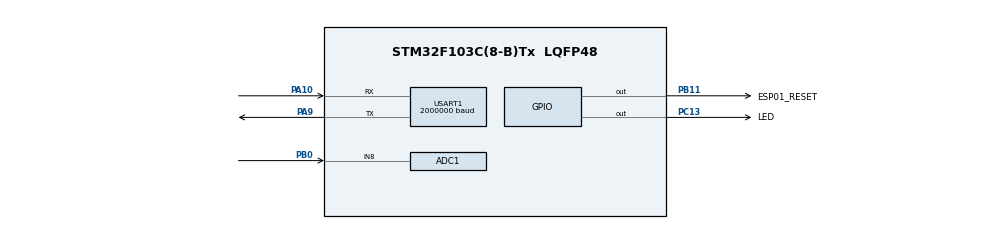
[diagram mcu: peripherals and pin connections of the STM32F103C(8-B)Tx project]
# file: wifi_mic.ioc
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ADC1.Channel-0\#ChannelRegularConversion=ADC_CHANNEL_8
ADC1.ExternalTrigConv=ADC_EXTERNALTRIGCONV_T3_TRGO
ADC1.NbrOfConversionFlag=1
ADC1.Rank-0\#ChannelRegularConversion=1
ADC1.SamplingTime-0\#ChannelRegularConversion=ADC_SAMPLETIME_1CYCLE_5
ADC1.master=1
Dma.ADC1.0.Direction=DMA_PERIPH_TO_MEMORY
Dma.ADC1.0.Instance=DMA1_Channel1
Dma.ADC1.0.MemDataAlignment=DMA_MDATAALIGN_HALFWORD
Dma.ADC1.0.MemInc=DMA_MINC_ENABLE
Dma.ADC1.0.Mode=DMA_CIRCULAR
Dma.ADC1.0.PeriphDataAlignment=DMA_PDATAALIGN_HALFWORD
Dma.ADC1.0.PeriphInc=DMA_PINC_DISABLE
Dma.ADC1.0.Priority=DMA_PRIORITY_LOW
Dma.Request0=ADC1
Dma.Request1=USART1_TX
Dma.USART1_TX.1.Direction=DMA_MEMORY_TO_PERIPH
Dma.USART1_TX.1.Instance=DMA1_Channel4
Dma.USART1_TX.1.MemDataAlignment=DMA_MDATAALIGN_BYTE
Dma.USART1_TX.1.MemInc=DMA_MINC_ENABLE
Dma.USART1_TX.1.Mode=DMA_NORMAL
Dma.USART1_TX.1.PeriphDataAlignment=DMA_PDATAALIGN_BYTE
Dma.USART1_TX.1.PeriphInc=DMA_PINC_DISABLE
Dma.USART1_TX.1.Priority=DMA_PRIORITY_LOW
Mcu.Family=STM32F1
Mcu.Name=STM32F103C(8-B)Tx
Mcu.Package=LQFP48
NVIC.DMA1_Channel1_IRQn=true\:0\:0\:false\:false\:true\:false\:true
NVIC.DMA1_Channel4_IRQn=true\:0\:0\:false\:false\:true\:false\:true
NVIC.PriorityGroup=NVIC_PRIORITYGROUP_4
NVIC.TIM3_IRQn=true\:0\:0\:false\:false\:true\:true\:true
NVIC.USART1_IRQn=true\:0\:0\:false\:false\:true\:true\:true
PA10.Mode=Asynchronous
PA10.Signal=USART1_RX
PA13.Mode=Serial_Wire
PA13.Signal=SYS_JTMS-SWDIO
PA14.Mode=Serial_Wire
PA14.Signal=SYS_JTCK-SWCLK
PA9.Mode=Asynchronous
PA9.Signal=USART1_TX
PB0.Signal=ADCx_IN8
PB11.GPIO_Label=ESP01_RESET
PB11.GPIO_ModeDefaultOutputPP=GPIO_MODE_OUTPUT_OD
PB11.Signal=GPIO_Output
PC13-TAMPER-RTC.GPIO_Label=LED
PC13-TAMPER-RTC.Signal=GPIO_Output
PD0-OSC_IN.Mode=HSE-External-Oscillator
PD0-OSC_IN.Signal=RCC_OSC_IN
PD1-OSC_OUT.Mode=HSE-External-Oscillator
PD1-OSC_OUT.Signal=RCC_OSC_OUT
ProjectManager.HeapSize=0x200
ProjectManager.StackSize=0x400
ProjectManager.TargetToolchain=MDK-ARM V5
RCC.ADCPresc=RCC_ADCPCLK2_DIV6
RCC.AHBFreq_Value=72000000
RCC.APB1CLKDivider=RCC_HCLK_DIV2
RCC.APB1Freq_Value=36000000
RCC.APB1TimFreq_Value=72000000
RCC.APB2Freq_Value=72000000
RCC.APB2TimFreq_Value=72000000
RCC.HCLKFreq_Value=72000000
RCC.PLLMUL=RCC_PLL_MUL9
RCC.PLLSourceVirtual=RCC_PLLSOURCE_HSE
RCC.SYSCLKFreq_VALUE=72000000
RCC.SYSCLKSource=RCC_SYSCLKSOURCE_PLLCLK
RCC.USBFreq_Value=72000000
SH.ADCx_IN8.0=ADC1_IN8,IN8
TIM3.Period=8999
TIM3.TIM_MasterOutputTrigger=TIM_TRGO_UPDATE
USART1.BaudRate=2000000
USART1.StopBits=STOPBITS_1
USART1.VirtualMode=VM_ASYNC
VP_TIM3_VS_ClockSourceINT.Mode=Internal
board=custom

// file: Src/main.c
/* USER CODE BEGIN Header */
/**
  ******************************************************************************
  * @file           : main.c
  * @brief          : Main program body
  ******************************************************************************
  * @attention
  *
  * <h2><center>&copy; Copyright (c) 2019 STMicroelectronics.
  * All rights reserved.</center></h2>
  *
  * This software component is licensed by ST under BSD 3-Clause license,
  * the "License"; You may not use this file except in compliance with the
  * License. You may obtain a copy of the License at:
  * opensource.org/licenses/BSD-3-Clause
  *
  ******************************************************************************
  */
/* USER CODE END Header */

#include "main.h"

/* USER CODE BEGIN Includes */
#include "g711.h"
#include <stdio.h>
#include <string.h>
/* USER CODE END Includes */

/* USER CODE BEGIN PD */
#define USE_AT_COMAND //IF NON DEFINED YOU CAN USE UART TO RECORD!!!
#define conect_to_AP "AT+CWJAP=\"AP_NAME\",\"PASSWORD\"\r\n"
#define serverPort 1222
#define server_Ip         "192.168.1.176"
#define stream_pac_size    1024
#define DEBUG 1
#define dc_ofcet 1800
#define ESP01_RESET()      LL_GPIO_ResetOutputPin(ESP01_RESET_GPIO_Port,ESP01_RESET_Pin)
#define ESP01_NORESET()    LL_GPIO_SetOutputPin(ESP01_RESET_GPIO_Port,ESP01_RESET_Pin)
#define LED_ONOFF()        (GPIOC->ODR ^= 8192)
#define LED_ON()           LL_GPIO_ResetOutputPin(LED_GPIO_Port,LED_Pin)
#define LED_OFF()          LL_GPIO_SetOutputPin(LED_GPIO_Port,LED_Pin)
/* USER CODE END PD */

/* USER CODE BEGIN PV */
char rx_buf[RX_BUF_SIZE]="";
volatile uint16_t rx_pos=0;
uint16_t adc_buffer[2][stream_pac_size/2];
uint8_t g711_buffer[stream_pac_size/2];
const char uartFastbaud [] =     "AT+UART_CUR=2000000,8,1,0,0\r\n" ;
const char at_test[] =           "AT\r\n";
const char echoOff[] =           "ATE0\r\n";
const char station_mode [] =     "AT+CWMODE=1\r\n"; //station mode
const char conect_AP_status [] = "AT+CWJAP?\r\n";
const char get_IP [] =           "AT+CIFSR\r\n";
const char NoMultConn[] =        "AT+CIPMUX=0\r\n";
uint8_t ready_buf=0;
uint8_t send_buf=1;
char sendbuf[50];
uint32_t baud=115200;
uint32_t i;
int adc_i;
volatile uint32_t currentTimeMs=0;
/* USER CODE END PV */

void SystemClock_Config(void);
static void MX_GPIO_Init(void);
static void MX_DMA_Init(void);
static void MX_ADC1_Init(void);
static void MX_TIM3_Init(void);
static void MX_USART1_UART_Init(void);
/* USER CODE BEGIN PFP */
//void MX_USART1_UART_Init(uint32_t baudrate);
void usart_send_byte(char chr);
void usart_send_string(const char *str);
void clear_rx_buf(void);
void connect_to_server(void);
uint8_t check_answer(char *str,uint16_t wait);
/* USER CODE END PFP */

/* USER CODE BEGIN 0 */
//+++++++++++++++++++++++++++++++++++++++++++++++++++++++++++++++++++++++++++++++//
//==================================SWO_ini======================================//
//+++++++++++++++++++++++++++++++++++++++++++++++++++++++++++++++++++++++++++++++//
#define ITM_Port8(n)    (*((volatile unsigned char *)(0xE0000000+4*n)))
#define ITM_Port16(n)   (*((volatile unsigned short*)(0xE0000000+4*n)))
#define ITM_Port32(n)   (*((volatile unsigned long *)(0xE0000000+4*n)))
#define DEMCR           (*((volatile unsigned long *)(0xE000EDFC)))
#define TRCENA           0x01000000

struct __FILE { int handle;};
FILE __stdout;
FILE __stdin;

int fputc(int ch, FILE *f) {
   if (DEMCR & TRCENA) {

while (ITM_Port32(0) == 0){};
    ITM_Port8(0) = ch;
  }
  return(ch);
}
char *crcOK;

//+++++++++++++++++++++++++++++++++++++++++++++++++++++++++++++++++++++++++++++++++//
//=================================================================================//
//+++++++++++++++++++++++++++++++++++++++++++++++++++++++++++++++++++++++++++++++++//
/* USER CODE END 0 */

int main(void)
{

  /* MCU Configuration--------------------------------------------------------*/

  /* Reset of all peripherals, Initializes the Flash interface and the Systick. */

  LL_APB2_GRP1_EnableClock(LL_APB2_GRP1_PERIPH_AFIO);
  LL_APB1_GRP1_EnableClock(LL_APB1_GRP1_PERIPH_PWR);

  NVIC_SetPriorityGrouping(NVIC_PRIORITYGROUP_4);

  /* System interrupt init*/

  /** NOJTAG: JTAG-DP Disabled and SW-DP Enabled
  */
  LL_GPIO_AF_Remap_SWJ_NOJTAG();

  /* Configure the system clock */
  SystemClock_Config();

  /* USER CODE BEGIN SysInit */
  LL_SYSTICK_EnableIT();
	//LL_USART_EnableIT_RXNE(USART1);//in uart ini
  /* USER CODE END SysInit */

  /* Initialize all configured peripherals */
  MX_GPIO_Init();
  MX_DMA_Init();
  MX_ADC1_Init();
  MX_TIM3_Init();
  MX_USART1_UART_Init();
  /* USER CODE BEGIN 2 */
#if defined(USE_AT_COMAND)
	LL_mDelay(500);
	ESP01_RESET();
	LL_mDelay(200);
	ESP01_NORESET();
	LL_mDelay(3000);//delite startup log
	clear_rx_buf();
	while(1){
		  LED_ONOFF();
			if(DEBUG)printf("while ESP01 module ready\r\n");
			    usart_send_string(at_test);
			if (check_answer("OK",500))break;
			}clear_rx_buf();
		  connect_to_server();
#else
			baud=921600;
			MX_USART1_UART_Init();
#endif /* USE_AT_COMAND */
//========================================DMA_CHANNEL_1=======================================================================//
LL_DMA_SetDataLength(DMA1, LL_DMA_CHANNEL_1, stream_pac_size);
LL_DMA_ConfigAddresses(DMA1,LL_DMA_CHANNEL_1,(uint32_t)&ADC1->DR,(uint32_t)&adc_buffer[0],LL_DMA_DIRECTION_PERIPH_TO_MEMORY);
LL_DMA_EnableIT_TC(DMA1,LL_DMA_CHANNEL_1);
LL_DMA_EnableIT_HT(DMA1,LL_DMA_CHANNEL_1);
LL_DMA_EnableChannel(DMA1,LL_DMA_CHANNEL_1);
//========================================DMA_CHANNEL_4======================================================================//
LL_USART_EnableDMAReq_TX(USART1);
LL_DMA_SetPeriphAddress(DMA1, LL_DMA_CHANNEL_4,(uint32_t)&USART1->DR);
LL_DMA_SetMemoryAddress(DMA1,LL_DMA_CHANNEL_4,(uint32_t)g711_buffer);
LL_DMA_SetDataLength(DMA1, LL_DMA_CHANNEL_4, stream_pac_size/2);
LL_DMA_EnableIT_TC(DMA1,LL_DMA_CHANNEL_4);
//LL_DMA_EnableChannel(DMA1,LL_DMA_CHANNEL_4);
//============================================ADC1============================================================================//
LL_ADC_Enable(ADC1);//ADC1->CR2 |= ADC_CR2_ADON;
LL_ADC_REG_StartConversionExtTrig(ADC1,LL_ADC_REG_TRIG_EXT_RISING);
//============================================TIM3============================================================================//
LL_TIM_EnableUpdateEvent(TIM3);//CLEAR_BIT(TIM3->CR1, TIM_CR1_UDIS);TIM3->CR1&=~TIM_CR1_UDIS
LL_TIM_EnableIT_UPDATE(TIM3); //TIM3->DIER |= TIM_DIER_UIE;
LL_TIM_EnableCounter(TIM3);		//TIM3->CR1 |= TIM_CR1_CEN; // Запуск таймера
//============================================================================================================================//
ESP01_NORESET();
  /* USER CODE END 2 */

  /* Infinite loop */
  /* USER CODE BEGIN WHILE */
  while (1)
  {

		if(ready_buf!=send_buf)	{
			//if(DEBUG)printf("start linear2alaw %d ms ; buf = %d\r\n",currentTimeMs,ready_buf);
			for(i=0;i<stream_pac_size/2;i++){
				 adc_i = ((int)adc_buffer[ready_buf][i])-dc_ofcet;
				 if(adc_i > 100)LED_ON();
           else LED_OFF();
			 g711_buffer[i]=(uint8_t)linear2alaw(adc_i);
			}
			//if(DEBUG)printf("end linear2alaw %d ms ;  buf = %d\r\n",currentTimeMs,ready_buf);
			LL_DMA_SetDataLength(DMA1, LL_DMA_CHANNEL_4, stream_pac_size/2);
			LL_DMA_EnableChannel(DMA1, LL_DMA_CHANNEL_4);
		  send_buf=ready_buf;
	  }

    /* USER CODE END WHILE */

  }
}

void SystemClock_Config(void)
{
  LL_FLASH_SetLatency(LL_FLASH_LATENCY_2);

   if(LL_FLASH_GetLatency() != LL_FLASH_LATENCY_2)
  {
    Error_Handler();
  }
  LL_RCC_HSE_Enable();

   /* Wait till HSE is ready */
  while(LL_RCC_HSE_IsReady() != 1)
  {

  }
  LL_RCC_PLL_ConfigDomain_SYS(LL_RCC_PLLSOURCE_HSE_DIV_1, LL_RCC_PLL_MUL_9);
  LL_RCC_PLL_Enable();

   /* Wait till PLL is ready */
  while(LL_RCC_PLL_IsReady() != 1)
  {

  }
  LL_RCC_SetAHBPrescaler(LL_RCC_SYSCLK_DIV_1);
  LL_RCC_SetAPB1Prescaler(LL_RCC_APB1_DIV_2);
  LL_RCC_SetAPB2Prescaler(LL_RCC_APB2_DIV_1);
  LL_RCC_SetSysClkSource(LL_RCC_SYS_CLKSOURCE_PLL);

   /* Wait till System clock is ready */
  while(LL_RCC_GetSysClkSource() != LL_RCC_SYS_CLKSOURCE_STATUS_PLL)
  {

  }
  LL_Init1msTick(72000000);
  LL_SYSTICK_SetClkSource(LL_SYSTICK_CLKSOURCE_HCLK);
  LL_SetSystemCoreClock(72000000);
  LL_RCC_SetADCClockSource(LL_RCC_ADC_CLKSRC_PCLK2_DIV_6);
}

static void MX_ADC1_Init(void)
{

  LL_ADC_InitTypeDef ADC_InitStruct = {0};
  LL_ADC_CommonInitTypeDef ADC_CommonInitStruct = {0};
  LL_ADC_REG_InitTypeDef ADC_REG_InitStruct = {0};

  LL_GPIO_InitTypeDef GPIO_InitStruct = {0};

  /* Peripheral clock enable */
  LL_APB2_GRP1_EnableClock(LL_APB2_GRP1_PERIPH_ADC1);

  LL_APB2_GRP1_EnableClock(LL_APB2_GRP1_PERIPH_GPIOB);
  /**ADC1 GPIO Configuration
  PB0   ------> ADC1_IN8
  */
  GPIO_InitStruct.Pin = LL_GPIO_PIN_0;
  GPIO_InitStruct.Mode = LL_GPIO_MODE_ANALOG;
  LL_GPIO_Init(GPIOB, &GPIO_InitStruct);

  /* ADC1 DMA Init */

  /* ADC1 Init */
  LL_DMA_SetDataTransferDirection(DMA1, LL_DMA_CHANNEL_1, LL_DMA_DIRECTION_PERIPH_TO_MEMORY);

  LL_DMA_SetChannelPriorityLevel(DMA1, LL_DMA_CHANNEL_1, LL_DMA_PRIORITY_LOW);

  LL_DMA_SetMode(DMA1, LL_DMA_CHANNEL_1, LL_DMA_MODE_CIRCULAR);

  LL_DMA_SetPeriphIncMode(DMA1, LL_DMA_CHANNEL_1, LL_DMA_PERIPH_NOINCREMENT);

  LL_DMA_SetMemoryIncMode(DMA1, LL_DMA_CHANNEL_1, LL_DMA_MEMORY_INCREMENT);

  LL_DMA_SetPeriphSize(DMA1, LL_DMA_CHANNEL_1, LL_DMA_PDATAALIGN_HALFWORD);

  LL_DMA_SetMemorySize(DMA1, LL_DMA_CHANNEL_1, LL_DMA_MDATAALIGN_HALFWORD);

  /** Common config
  */
  ADC_InitStruct.DataAlignment = LL_ADC_DATA_ALIGN_RIGHT;
  ADC_InitStruct.SequencersScanMode = LL_ADC_SEQ_SCAN_DISABLE;
  LL_ADC_Init(ADC1, &ADC_InitStruct);
  ADC_CommonInitStruct.Multimode = LL_ADC_MULTI_INDEPENDENT;
  LL_ADC_CommonInit(__LL_ADC_COMMON_INSTANCE(ADC1), &ADC_CommonInitStruct);
  ADC_REG_InitStruct.TriggerSource = LL_ADC_REG_TRIG_EXT_TIM3_TRGO;
  ADC_REG_InitStruct.SequencerLength = 1;
  ADC_REG_InitStruct.SequencerDiscont = LL_ADC_REG_SEQ_DISCONT_DISABLE;
  ADC_REG_InitStruct.ContinuousMode = LL_ADC_REG_CONV_SINGLE;
  ADC_REG_InitStruct.DMATransfer = LL_ADC_REG_DMA_TRANSFER_UNLIMITED;
  LL_ADC_REG_Init(ADC1, &ADC_REG_InitStruct);
  /** Configure Regular Channel
  */
  LL_ADC_REG_SetSequencerRanks(ADC1, LL_ADC_REG_RANK_1, LL_ADC_CHANNEL_8);
  LL_ADC_SetChannelSamplingTime(ADC1, LL_ADC_CHANNEL_8, LL_ADC_SAMPLINGTIME_1CYCLE_5);

}

static void MX_TIM3_Init(void)
{

  LL_TIM_InitTypeDef TIM_InitStruct = {0};

  /* Peripheral clock enable */
  LL_APB1_GRP1_EnableClock(LL_APB1_GRP1_PERIPH_TIM3);

  /* TIM3 interrupt Init */
  NVIC_SetPriority(TIM3_IRQn, NVIC_EncodePriority(NVIC_GetPriorityGrouping(),0, 0));
  NVIC_EnableIRQ(TIM3_IRQn);

  TIM_InitStruct.Prescaler = 0;
  TIM_InitStruct.CounterMode = LL_TIM_COUNTERMODE_UP;
  TIM_InitStruct.Autoreload = 1500-1; //2000-1=36khz//72000000/8000=9000-1  8kHz\\//72000000/16000=4500-1  16kHz
  TIM_InitStruct.ClockDivision = LL_TIM_CLOCKDIVISION_DIV1;
  LL_TIM_Init(TIM3, &TIM_InitStruct);
  LL_TIM_DisableARRPreload(TIM3);
  LL_TIM_SetClockSource(TIM3, LL_TIM_CLOCKSOURCE_INTERNAL);
  LL_TIM_SetTriggerOutput(TIM3, LL_TIM_TRGO_UPDATE);
  LL_TIM_DisableMasterSlaveMode(TIM3);
  /* USER CODE BEGIN TIM3_Init 2 */
	//RCC->APB1ENR |= RCC_APB1ENR_TIM3EN;   // TIM3 clock enable
  //TIM3->DIER |= TIM_DIER_UIE;   // Enable update event generation
	//TIM3->PSC = 0;                //Prescaler
	//TIM3->ARR = 8999;             //Autoreload
	//TIM3->CR2 |= TIM_CR2_MMS_1    //SetTriggerOutput TIM_TRGO_UPDATE
	//TIM3->CR1 |= TIM_CR1_CEN;     //start timer
  /* USER CODE END TIM3_Init 2 */

}

static void MX_USART1_UART_Init(void)
{

  LL_USART_InitTypeDef USART_InitStruct = {0};

  LL_GPIO_InitTypeDef GPIO_InitStruct = {0};

  /* Peripheral clock enable */
  LL_APB2_GRP1_EnableClock(LL_APB2_GRP1_PERIPH_USART1);

  LL_APB2_GRP1_EnableClock(LL_APB2_GRP1_PERIPH_GPIOA);
  /**USART1 GPIO Configuration
  PA9   ------> USART1_TX
  PA10   ------> USART1_RX
  */
  GPIO_InitStruct.Pin = LL_GPIO_PIN_9;
  GPIO_InitStruct.Mode = LL_GPIO_MODE_ALTERNATE;
  GPIO_InitStruct.Speed = LL_GPIO_SPEED_FREQ_HIGH;
  GPIO_InitStruct.OutputType = LL_GPIO_OUTPUT_PUSHPULL;
  LL_GPIO_Init(GPIOA, &GPIO_InitStruct);

  GPIO_InitStruct.Pin = LL_GPIO_PIN_10;
  GPIO_InitStruct.Mode = LL_GPIO_MODE_FLOATING;
  LL_GPIO_Init(GPIOA, &GPIO_InitStruct);

  /* USART1 DMA Init */

  /* USART1_TX Init */
  LL_DMA_SetDataTransferDirection(DMA1, LL_DMA_CHANNEL_4, LL_DMA_DIRECTION_MEMORY_TO_PERIPH);

  LL_DMA_SetChannelPriorityLevel(DMA1, LL_DMA_CHANNEL_4, LL_DMA_PRIORITY_LOW);

  LL_DMA_SetMode(DMA1, LL_DMA_CHANNEL_4, LL_DMA_MODE_NORMAL);

  LL_DMA_SetPeriphIncMode(DMA1, LL_DMA_CHANNEL_4, LL_DMA_PERIPH_NOINCREMENT);

  LL_DMA_SetMemoryIncMode(DMA1, LL_DMA_CHANNEL_4, LL_DMA_MEMORY_INCREMENT);

  LL_DMA_SetPeriphSize(DMA1, LL_DMA_CHANNEL_4, LL_DMA_PDATAALIGN_BYTE);

  LL_DMA_SetMemorySize(DMA1, LL_DMA_CHANNEL_4, LL_DMA_MDATAALIGN_BYTE);

  /* USART1 interrupt Init */
  NVIC_SetPriority(USART1_IRQn, NVIC_EncodePriority(NVIC_GetPriorityGrouping(),0, 0));
  NVIC_EnableIRQ(USART1_IRQn);

  /* USER CODE BEGIN USART1_Init 1 */
  LL_USART_EnableIT_RXNE(USART1);
  /* USER CODE END USART1_Init 1 */
  USART_InitStruct.BaudRate = baud;
  USART_InitStruct.DataWidth = LL_USART_DATAWIDTH_8B;
  USART_InitStruct.StopBits = LL_USART_STOPBITS_1;
  USART_InitStruct.Parity = LL_USART_PARITY_NONE;
  USART_InitStruct.TransferDirection = LL_USART_DIRECTION_TX_RX;
  USART_InitStruct.HardwareFlowControl = LL_USART_HWCONTROL_NONE;
  LL_USART_Init(USART1, &USART_InitStruct);
  LL_USART_ConfigAsyncMode(USART1);
  LL_USART_Enable(USART1);

}

static void MX_DMA_Init(void)
{
  /* Init with LL driver */
  /* DMA controller clock enable */
  LL_AHB1_GRP1_EnableClock(LL_AHB1_GRP1_PERIPH_DMA1);

  /* DMA interrupt init */
  /* DMA1_Channel1_IRQn interrupt configuration */
  NVIC_SetPriority(DMA1_Channel1_IRQn, NVIC_EncodePriority(NVIC_GetPriorityGrouping(),0, 0));
  NVIC_EnableIRQ(DMA1_Channel1_IRQn);
  /* DMA1_Channel4_IRQn interrupt configuration */
  NVIC_SetPriority(DMA1_Channel4_IRQn, NVIC_EncodePriority(NVIC_GetPriorityGrouping(),0, 0));
  NVIC_EnableIRQ(DMA1_Channel4_IRQn);

}

static void MX_GPIO_Init(void)
{
  LL_GPIO_InitTypeDef GPIO_InitStruct = {0};

  /* GPIO Ports Clock Enable */
  LL_APB2_GRP1_EnableClock(LL_APB2_GRP1_PERIPH_GPIOC);
  LL_APB2_GRP1_EnableClock(LL_APB2_GRP1_PERIPH_GPIOD);
  LL_APB2_GRP1_EnableClock(LL_APB2_GRP1_PERIPH_GPIOB);
  LL_APB2_GRP1_EnableClock(LL_APB2_GRP1_PERIPH_GPIOA);

  /**/
  LL_GPIO_ResetOutputPin(LED_GPIO_Port, LED_Pin);

  /**/
  LL_GPIO_ResetOutputPin(ESP01_RESET_GPIO_Port, ESP01_RESET_Pin);

  /**/
  GPIO_InitStruct.Pin = LED_Pin;
  GPIO_InitStruct.Mode = LL_GPIO_MODE_OUTPUT;
  GPIO_InitStruct.Speed = LL_GPIO_SPEED_FREQ_LOW;
  GPIO_InitStruct.OutputType = LL_GPIO_OUTPUT_PUSHPULL;
  LL_GPIO_Init(LED_GPIO_Port, &GPIO_InitStruct);

  /**/
  GPIO_InitStruct.Pin = ESP01_RESET_Pin;
  GPIO_InitStruct.Mode = LL_GPIO_MODE_OUTPUT;
  GPIO_InitStruct.Speed = LL_GPIO_SPEED_FREQ_LOW;
  GPIO_InitStruct.OutputType = LL_GPIO_OUTPUT_OPENDRAIN;
  LL_GPIO_Init(ESP01_RESET_GPIO_Port, &GPIO_InitStruct);

}

/* USER CODE BEGIN 4 */
//+++++++++++++++++++++++++++++++++++++++++++++++++++++++++++++++++++++++++++++++//
//=================================usart1_send_byte==============================//
//+++++++++++++++++++++++++++++++++++++++++++++++++++++++++++++++++++++++++++++++//
void usart_send_byte (char chr){
	      USART1->DR = chr;
	       while (!LL_USART_IsActiveFlag_TC(USART1));
}

//+++++++++++++++++++++++++++++++++++++++++++++++++++++++++++++++++++++++++++++++//
//=================================usart1_send_string============================//
//+++++++++++++++++++++++++++++++++++++++++++++++++++++++++++++++++++++++++++++++//
void usart_send_string(const char* str) {
	//clear_rx_buf();
  while(*str){
		usart_send_byte(*str++);
	}
}

//++++++++++++++++++++++++++++++++++++++++++++++++++++++++++++++++++++++++++++++++++++++++++//
//==============================check_answer================================================//
//++++++++++++++++++++++++++++++++++++++++++++++++++++++++++++++++++++++++++++++++++++++++++//
uint8_t check_answer(char *str,uint16_t wait){
uint32_t time_Ms_Now = currentTimeMs;
char *istr = NULL;
	while(istr==NULL && ((currentTimeMs-time_Ms_Now)< wait)){
			istr=strstr(rx_buf,str);
		}
		if(istr!=NULL){
			if(DEBUG)printf("find %s;\r\n",str);
			clear_rx_buf();
			return 1;
		}else return 0;
	}
//=========================================================================//
//-----------------------------clear_rx_buf--------------------------------//
//=========================================================================//
void clear_rx_buf(void){
 for(;rx_pos!=0;rx_pos--)rx_buf[rx_pos]=0xFF;
// for(i=RX_BUF_SIZE;i!=0;i--)
//	rx_buf[i]='\0';
}
//=========================================================================================//
//+++++++++++++++++++++++configure ESP and connect to the server++++++++++++++++++++++++++++//
//=========================================================================================//
#if defined(USE_AT_COMAND)
void connect_to_server(void){
uint8_t step=0;

while(1){
//This at command checked at !!!!
	switch(step){
		case(0):
			if(DEBUG)printf("step 1: send_string(echoOff)\r\n");
			usart_send_string(echoOff);
			if (check_answer("OK",1000))step++;
		break;
		case(1):
			if(DEBUG)printf("step 2: send_string(station_mode)\r\n");
			usart_send_string(station_mode);
			if (check_answer("OK",1000))step++;
		break;
		case(2):
			if(DEBUG)printf("step 3: send_string(conect_to_AP)\r\n");
		  usart_send_string(conect_to_AP);
			if (check_answer("WIFI CONNECTED",5000))step++;
		break;
		case(3):
			if(DEBUG)printf("step 4: send_string(conect_to_AP_status)\r\n");
			usart_send_string(conect_AP_status);
		  if (check_answer("OK",5000))step++;
		break;
		case(4):
			if(DEBUG)printf("step 5: send_string(get_IP)\r\n");
			usart_send_string(get_IP);
		  if (check_answer("OK",1000))step++;
		break;
		case(5):
			if(DEBUG)printf("step 6: send_string(NoMultConn)\r\n");
			usart_send_string(NoMultConn);
		  if (check_answer("OK",1000))step++;
		break;
		case(6):
			 sprintf(sendbuf,"%s%s%s%d%s","AT+CIPSTART=\"TCP\",\"",server_Ip,"\",",serverPort,"\r\n");
			 if(DEBUG)printf("step 7: connect to the server tx: %s\r\n",sendbuf);
			 usart_send_string(sendbuf);          //connect to the server
			 if(check_answer("CONNECT",3000))step++;
		break;
			case(7):
			if(DEBUG)printf("step 0: send uartFastbaud tx\r\n");
			usart_send_string(uartFastbaud);
			if (check_answer("OK",1000)){
				baud = 2000000;
				LL_USART_DeInit(USART1);
				MX_USART1_UART_Init();
				step++;
			}
		break;
  case(8):
    if(DEBUG)printf("step 8: enable transparent transmission mode tx\r\n");
	  usart_send_string("AT+CIPMODE=1\r\n");//enable transparent transmission mode
    LL_mDelay(500);
		step++;
	  usart_send_string("AT+CIPSEND\r\n");//stat transmitt
  break;
	}
LL_mDelay(500);
if (step==9)break;
		LL_mDelay(200);
 }
}
#endif /* USE_AT_COMAND */
/* USER CODE END 4 */

void Error_Handler(void)
{
}

/************************ (C) COPYRIGHT STMicroelectronics *****END OF FILE****/
